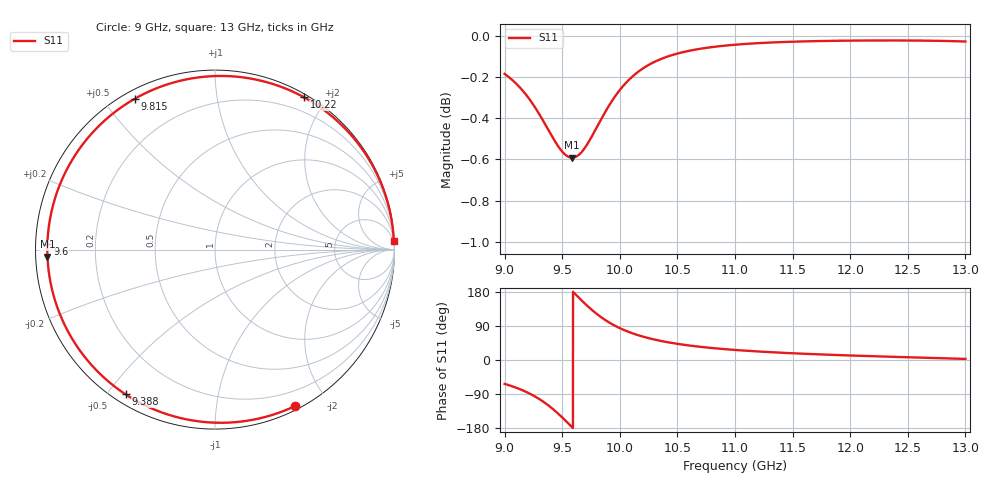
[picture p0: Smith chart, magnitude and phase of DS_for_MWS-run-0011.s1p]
! TOUCHSTONE file generated by CST DESIGN STUDIO
! Date and time: Tue Feb  4 15:59:52 2025
! Project name: C:\Work\MatlabApps\UnitCellOptimizationMatlab\CST\unitcell.cst
! Tree item: Tasks\Sweep1\SPara1\S-Parameters
! Header version: 2024
! Port assignment regex: !\s*Touchstone port\s*([0-9]+)\s*=\s*(CST MWS port|CST DES external port|CST DES block port)\s*(.+)\s* \(\"(.*)\"\)(\s*mode\s*([0-9]+))?.*
! Touchstone port assignment:
! Touchstone port 1 = CST DES external port 1 ("")
# GHz S MA R 50
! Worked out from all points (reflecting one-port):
!   4001 points, 9 GHz to 13 GHz, reference 50 ohm
!   lowest |S11| = -0.6 dB at 9.586 GHz (marker M1), VSWR 29.39, Z = 1.7 - j1.07 ohm
!   phase of S11 starts at -63 deg and turns -294 deg over the sweep
!   S11 on the Smith chart (normalised r, x): 9 GHz: 0.04, -1.63; 9.388 GHz: 0.04, -0.56; 9.6 GHz: 0.03, +0.02; 9.815 GHz: 0.03, +0.60; 10.22 GHz: 0.03, +1.74; 13 GHz: 2, +40
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9  0.979 -63.0
9.049  0.9766 -67.7
9.119  0.9725 -75.3
9.238  0.9633 -91.9
9.318  0.9554 -106.4
9.388  0.9479 -121.7
9.444  0.9421 -135.8
9.5  0.9374 -151.5
9.544  0.935 -164.6
9.586  0.9342 -177.5
9.6  0.9343 178.1
9.655  0.9363 161.2
9.716  0.9411 143.4
9.765  0.9462 130.2
9.815  0.9519 118.1
9.856  0.9565 109.1
9.899  0.9611 100.6
10  0.9702 84.1
10.107  0.9774 70.7
10.224  0.983 59.7
10.351  0.9871 50.7
10.5  0.9902 42.6
10.72  0.9931 34.1
11  0.9951 26.5
11.5  0.9968 17.8
12  0.9974 11.9
12.5  0.9975 7.3
13  0.9969 2.9
